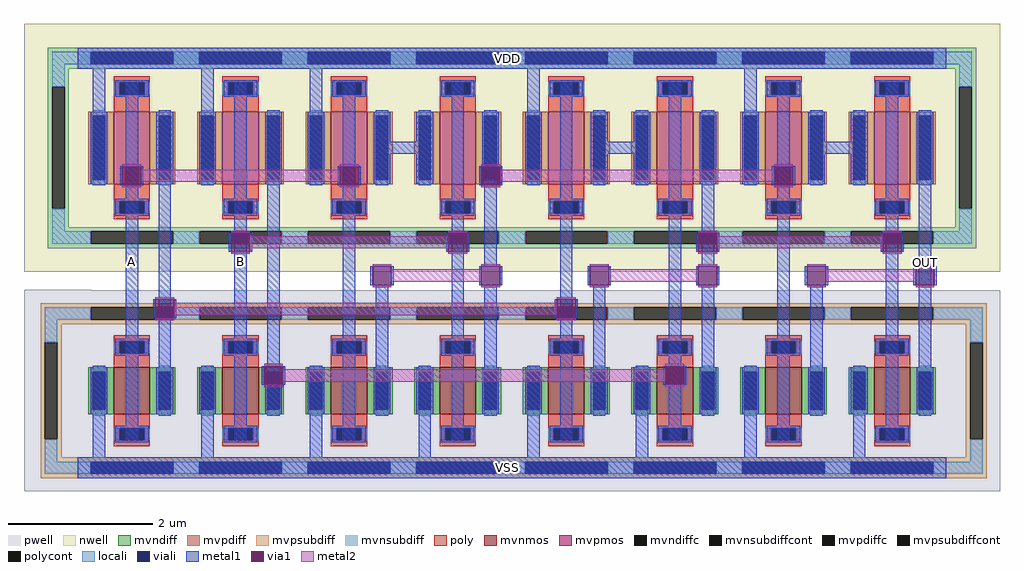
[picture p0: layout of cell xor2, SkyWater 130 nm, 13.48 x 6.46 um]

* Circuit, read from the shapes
.subckt xor2 VSS VDD A B OUT
XM1 xor2_raw_0/nor2_raw_1/A A VSS VSS sky130_fd_pr__nfet_g5v0d10v5 w=0.65 l=0.5
XM2 xor2_raw_0/nor2_raw_1/B B VSS VSS sky130_fd_pr__nfet_g5v0d10v5 w=0.65 l=0.5
XM3 xor2_raw_0/nor2_raw_2/A A VSS VSS sky130_fd_pr__nfet_g5v0d10v5 w=0.65 l=0.5
XM4 xor2_raw_0/nor2_raw_2/A B VSS VSS sky130_fd_pr__nfet_g5v0d10v5 w=0.65 l=0.5
XM5 xor2_raw_0/nor2_raw_2/B xor2_raw_0/nor2_raw_1/A VSS VSS sky130_fd_pr__nfet_g5v0d10v5 w=0.65 l=0.5
XM6 xor2_raw_0/nor2_raw_2/B xor2_raw_0/nor2_raw_1/B VSS VSS sky130_fd_pr__nfet_g5v0d10v5 w=0.65 l=0.5
XM7 OUT xor2_raw_0/nor2_raw_2/A VSS VSS sky130_fd_pr__nfet_g5v0d10v5 w=0.65 l=0.5
XM8 OUT xor2_raw_0/nor2_raw_2/B VSS VSS sky130_fd_pr__nfet_g5v0d10v5 w=0.65 l=0.5
XM9 xor2_raw_0/nor2_raw_1/A A VDD VDD sky130_fd_pr__pfet_g5v0d10v5 w=1 l=0.5
XM10 xor2_raw_0/nor2_raw_1/B B VDD VDD sky130_fd_pr__pfet_g5v0d10v5 w=1 l=0.5
XM11 n1 A VDD VDD sky130_fd_pr__pfet_g5v0d10v5 w=1 l=0.5
XM12 xor2_raw_0/nor2_raw_2/A B n1 VDD sky130_fd_pr__pfet_g5v0d10v5 w=1 l=0.5
XM13 n2 xor2_raw_0/nor2_raw_1/A VDD VDD sky130_fd_pr__pfet_g5v0d10v5 w=1 l=0.5
XM14 xor2_raw_0/nor2_raw_2/B xor2_raw_0/nor2_raw_1/B n2 VDD sky130_fd_pr__pfet_g5v0d10v5 w=1 l=0.5
XM15 n3 xor2_raw_0/nor2_raw_2/A VDD VDD sky130_fd_pr__pfet_g5v0d10v5 w=1 l=0.5
XM16 OUT xor2_raw_0/nor2_raw_2/B n3 VDD sky130_fd_pr__pfet_g5v0d10v5 w=1 l=0.5
.ends

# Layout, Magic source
magic
tech sky130A
magscale 1 2
<< metal1 >>
rect 148 1168 2524 1226
rect 281 141 315 1130
rect 581 141 615 1130
rect 2472 209 2506 1053
rect 148 36 2524 94
use transistor_pair_bus_8  transistor_pair_bus_8_0
transform 1 0 60 0 1 0
box -60 0 2636 1292
use xor2_raw  xor2_raw_0
transform 1 0 0 0 1 0
box 148 36 2524 1226
<< labels >>
flabel metal1 281 141 315 1130 0 FreeSans 256 0 0 0 A
port 2 nsew signal input
flabel metal1 581 141 615 1130 0 FreeSans 256 0 0 0 B
port 3 nsew signal input
flabel metal1 2472 209 2506 1053 0 FreeSans 128 0 0 0 OUT
port 4 nsew signal output
flabel metal1 148 36 2524 94 0 FreeSans 256 0 0 0 VSS
port 0 nsew ground bidirectional
flabel metal1 148 1168 2524 1226 0 FreeSans 256 0 0 0 VDD
port 1 nsew power bidirectional
<< end >>

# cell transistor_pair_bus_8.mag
magic
tech sky130A
magscale 1 2
<< nwell >>
rect -60 606 2636 1292
<< pwell >>
rect -60 556 126 557
rect -60 0 2636 556
<< mvnmos >>
rect 188 213 288 343
rect 488 213 588 343
rect 788 213 888 343
rect 1088 213 1188 343
rect 1388 213 1488 343
rect 1688 213 1788 343
rect 1988 213 2088 343
rect 2288 213 2388 343
<< mvpmos >>
rect 188 849 288 1049
rect 488 849 588 1049
rect 788 849 888 1049
rect 1088 849 1188 1049
rect 1388 849 1488 1049
rect 1688 849 1788 1049
rect 1988 849 2088 1049
rect 2288 849 2388 1049
<< mvndiff >>
rect 118 331 188 343
rect 118 225 130 331
rect 164 225 188 331
rect 118 213 188 225
rect 288 331 358 343
rect 288 225 312 331
rect 346 225 358 331
rect 288 213 358 225
rect 418 331 488 343
rect 418 225 430 331
rect 464 225 488 331
rect 418 213 488 225
rect 588 331 658 343
rect 588 225 612 331
rect 646 225 658 331
rect 588 213 658 225
rect 718 331 788 343
rect 718 225 730 331
rect 764 225 788 331
rect 718 213 788 225
rect 888 331 958 343
rect 888 225 912 331
rect 946 225 958 331
rect 888 213 958 225
rect 1018 331 1088 343
rect 1018 225 1030 331
rect 1064 225 1088 331
rect 1018 213 1088 225
rect 1188 331 1258 343
rect 1188 225 1212 331
rect 1246 225 1258 331
rect 1188 213 1258 225
rect 1318 331 1388 343
rect 1318 225 1330 331
rect 1364 225 1388 331
rect 1318 213 1388 225
rect 1488 331 1558 343
rect 1488 225 1512 331
rect 1546 225 1558 331
rect 1488 213 1558 225
rect 1618 331 1688 343
rect 1618 225 1630 331
rect 1664 225 1688 331
rect 1618 213 1688 225
rect 1788 331 1858 343
rect 1788 225 1812 331
rect 1846 225 1858 331
rect 1788 213 1858 225
rect 1918 331 1988 343
rect 1918 225 1930 331
rect 1964 225 1988 331
rect 1918 213 1988 225
rect 2088 331 2158 343
rect 2088 225 2112 331
rect 2146 225 2158 331
rect 2088 213 2158 225
rect 2218 331 2288 343
rect 2218 225 2230 331
rect 2264 225 2288 331
rect 2218 213 2288 225
rect 2388 331 2458 343
rect 2388 225 2412 331
rect 2446 225 2458 331
rect 2388 213 2458 225
<< mvpdiff >>
rect 118 1037 188 1049
rect 118 861 130 1037
rect 164 861 188 1037
rect 118 849 188 861
rect 288 1037 358 1049
rect 288 861 312 1037
rect 346 861 358 1037
rect 288 849 358 861
rect 418 1037 488 1049
rect 418 861 430 1037
rect 464 861 488 1037
rect 418 849 488 861
rect 588 1037 658 1049
rect 588 861 612 1037
rect 646 861 658 1037
rect 588 849 658 861
rect 718 1037 788 1049
rect 718 861 730 1037
rect 764 861 788 1037
rect 718 849 788 861
rect 888 1037 958 1049
rect 888 861 912 1037
rect 946 861 958 1037
rect 888 849 958 861
rect 1018 1037 1088 1049
rect 1018 861 1030 1037
rect 1064 861 1088 1037
rect 1018 849 1088 861
rect 1188 1037 1258 1049
rect 1188 861 1212 1037
rect 1246 861 1258 1037
rect 1188 849 1258 861
rect 1318 1037 1388 1049
rect 1318 861 1330 1037
rect 1364 861 1388 1037
rect 1318 849 1388 861
rect 1488 1037 1558 1049
rect 1488 861 1512 1037
rect 1546 861 1558 1037
rect 1488 849 1558 861
rect 1618 1037 1688 1049
rect 1618 861 1630 1037
rect 1664 861 1688 1037
rect 1618 849 1688 861
rect 1788 1037 1858 1049
rect 1788 861 1812 1037
rect 1846 861 1858 1037
rect 1788 849 1858 861
rect 1918 1037 1988 1049
rect 1918 861 1930 1037
rect 1964 861 1988 1037
rect 1918 849 1988 861
rect 2088 1037 2158 1049
rect 2088 861 2112 1037
rect 2146 861 2158 1037
rect 2088 849 2158 861
rect 2218 1037 2288 1049
rect 2218 861 2230 1037
rect 2264 861 2288 1037
rect 2218 849 2288 861
rect 2388 1037 2458 1049
rect 2388 861 2412 1037
rect 2446 861 2458 1037
rect 2388 849 2458 861
<< mvndiffc >>
rect 130 225 164 331
rect 312 225 346 331
rect 430 225 464 331
rect 612 225 646 331
rect 730 225 764 331
rect 912 225 946 331
rect 1030 225 1064 331
rect 1212 225 1246 331
rect 1330 225 1364 331
rect 1512 225 1546 331
rect 1630 225 1664 331
rect 1812 225 1846 331
rect 1930 225 1964 331
rect 2112 225 2146 331
rect 2230 225 2264 331
rect 2412 225 2446 331
<< mvpdiffc >>
rect 130 861 164 1037
rect 312 861 346 1037
rect 430 861 464 1037
rect 612 861 646 1037
rect 730 861 764 1037
rect 912 861 946 1037
rect 1030 861 1064 1037
rect 1212 861 1246 1037
rect 1330 861 1364 1037
rect 1512 861 1546 1037
rect 1630 861 1664 1037
rect 1812 861 1846 1037
rect 1930 861 1964 1037
rect 2112 861 2146 1037
rect 2230 861 2264 1037
rect 2412 861 2446 1037
<< mvpsubdiff >>
rect -14 508 2600 520
rect -14 474 124 508
rect 352 474 424 508
rect 652 474 724 508
rect 952 474 1024 508
rect 1252 474 1324 508
rect 1552 474 1624 508
rect 1852 474 1924 508
rect 2152 474 2224 508
rect 2452 474 2600 508
rect -14 462 2600 474
rect -14 412 44 462
rect -14 144 -2 412
rect 32 144 44 412
rect 2542 412 2600 462
rect -14 94 44 144
rect 2542 144 2554 412
rect 2588 144 2600 412
rect 2542 94 2600 144
rect -14 82 2600 94
rect -14 48 124 82
rect 352 48 424 82
rect 652 48 724 82
rect 952 48 1024 82
rect 1252 48 1324 82
rect 1552 48 1624 82
rect 1852 48 1924 82
rect 2152 48 2224 82
rect 2452 48 2600 82
rect -14 36 2600 48
<< mvnsubdiff >>
rect 6 1214 2570 1226
rect 6 1180 124 1214
rect 352 1180 424 1214
rect 652 1180 724 1214
rect 952 1180 1024 1214
rect 1252 1180 1324 1214
rect 1552 1180 1624 1214
rect 1852 1180 1924 1214
rect 2152 1180 2224 1214
rect 2452 1180 2570 1214
rect 6 1168 2570 1180
rect 6 1118 64 1168
rect 6 780 18 1118
rect 52 780 64 1118
rect 2512 1118 2570 1168
rect 6 730 64 780
rect 2512 780 2524 1118
rect 2558 780 2570 1118
rect 2512 730 2570 780
rect 6 718 2570 730
rect 6 684 124 718
rect 352 684 424 718
rect 652 684 724 718
rect 952 684 1024 718
rect 1252 684 1324 718
rect 1552 684 1624 718
rect 1852 684 1924 718
rect 2152 684 2224 718
rect 2452 684 2570 718
rect 6 672 2570 684
<< mvpsubdiffcont >>
rect 124 474 352 508
rect 424 474 652 508
rect 724 474 952 508
rect 1024 474 1252 508
rect 1324 474 1552 508
rect 1624 474 1852 508
rect 1924 474 2152 508
rect 2224 474 2452 508
rect -2 144 32 412
rect 2554 144 2588 412
rect 124 48 352 82
rect 424 48 652 82
rect 724 48 952 82
rect 1024 48 1252 82
rect 1324 48 1552 82
rect 1624 48 1852 82
rect 1924 48 2152 82
rect 2224 48 2452 82
<< mvnsubdiffcont >>
rect 124 1180 352 1214
rect 424 1180 652 1214
rect 724 1180 952 1214
rect 1024 1180 1252 1214
rect 1324 1180 1552 1214
rect 1624 1180 1852 1214
rect 1924 1180 2152 1214
rect 2224 1180 2452 1214
rect 18 780 52 1118
rect 2524 780 2558 1118
rect 124 684 352 718
rect 424 684 652 718
rect 724 684 952 718
rect 1024 684 1252 718
rect 1324 684 1552 718
rect 1624 684 1852 718
rect 1924 684 2152 718
rect 2224 684 2452 718
<< poly >>
rect 188 1130 288 1146
rect 188 1096 204 1130
rect 272 1096 288 1130
rect 188 1049 288 1096
rect 488 1130 588 1146
rect 488 1096 504 1130
rect 572 1096 588 1130
rect 488 1049 588 1096
rect 788 1130 888 1146
rect 788 1096 804 1130
rect 872 1096 888 1130
rect 788 1049 888 1096
rect 1088 1130 1188 1146
rect 1088 1096 1104 1130
rect 1172 1096 1188 1130
rect 1088 1049 1188 1096
rect 1388 1130 1488 1146
rect 1388 1096 1404 1130
rect 1472 1096 1488 1130
rect 1388 1049 1488 1096
rect 1688 1130 1788 1146
rect 1688 1096 1704 1130
rect 1772 1096 1788 1130
rect 1688 1049 1788 1096
rect 1988 1130 2088 1146
rect 1988 1096 2004 1130
rect 2072 1096 2088 1130
rect 1988 1049 2088 1096
rect 2288 1130 2388 1146
rect 2288 1096 2304 1130
rect 2372 1096 2388 1130
rect 2288 1049 2388 1096
rect 188 802 288 849
rect 188 768 204 802
rect 272 768 288 802
rect 188 752 288 768
rect 488 802 588 849
rect 488 768 504 802
rect 572 768 588 802
rect 488 752 588 768
rect 788 802 888 849
rect 788 768 804 802
rect 872 768 888 802
rect 788 752 888 768
rect 1088 802 1188 849
rect 1088 768 1104 802
rect 1172 768 1188 802
rect 1088 752 1188 768
rect 1388 802 1488 849
rect 1388 768 1404 802
rect 1472 768 1488 802
rect 1388 752 1488 768
rect 1688 802 1788 849
rect 1688 768 1704 802
rect 1772 768 1788 802
rect 1688 752 1788 768
rect 1988 802 2088 849
rect 1988 768 2004 802
rect 2072 768 2088 802
rect 1988 752 2088 768
rect 2288 802 2388 849
rect 2288 768 2304 802
rect 2372 768 2388 802
rect 2288 752 2388 768
rect 188 415 288 431
rect 188 381 204 415
rect 272 381 288 415
rect 188 343 288 381
rect 488 415 588 431
rect 488 381 504 415
rect 572 381 588 415
rect 488 343 588 381
rect 788 415 888 431
rect 788 381 804 415
rect 872 381 888 415
rect 788 343 888 381
rect 1088 415 1188 431
rect 1088 381 1104 415
rect 1172 381 1188 415
rect 1088 343 1188 381
rect 1388 415 1488 431
rect 1388 381 1404 415
rect 1472 381 1488 415
rect 1388 343 1488 381
rect 1688 415 1788 431
rect 1688 381 1704 415
rect 1772 381 1788 415
rect 1688 343 1788 381
rect 1988 415 2088 431
rect 1988 381 2004 415
rect 2072 381 2088 415
rect 1988 343 2088 381
rect 2288 415 2388 431
rect 2288 381 2304 415
rect 2372 381 2388 415
rect 2288 343 2388 381
rect 188 175 288 213
rect 188 141 204 175
rect 272 141 288 175
rect 188 125 288 141
rect 488 175 588 213
rect 488 141 504 175
rect 572 141 588 175
rect 488 125 588 141
rect 788 175 888 213
rect 788 141 804 175
rect 872 141 888 175
rect 788 125 888 141
rect 1088 175 1188 213
rect 1088 141 1104 175
rect 1172 141 1188 175
rect 1088 125 1188 141
rect 1388 175 1488 213
rect 1388 141 1404 175
rect 1472 141 1488 175
rect 1388 125 1488 141
rect 1688 175 1788 213
rect 1688 141 1704 175
rect 1772 141 1788 175
rect 1688 125 1788 141
rect 1988 175 2088 213
rect 1988 141 2004 175
rect 2072 141 2088 175
rect 1988 125 2088 141
rect 2288 175 2388 213
rect 2288 141 2304 175
rect 2372 141 2388 175
rect 2288 125 2388 141
<< polycont >>
rect 204 1096 272 1130
rect 504 1096 572 1130
rect 804 1096 872 1130
rect 1104 1096 1172 1130
rect 1404 1096 1472 1130
rect 1704 1096 1772 1130
rect 2004 1096 2072 1130
rect 2304 1096 2372 1130
rect 204 768 272 802
rect 504 768 572 802
rect 804 768 872 802
rect 1104 768 1172 802
rect 1404 768 1472 802
rect 1704 768 1772 802
rect 2004 768 2072 802
rect 2304 768 2372 802
rect 204 381 272 415
rect 504 381 572 415
rect 804 381 872 415
rect 1104 381 1172 415
rect 1404 381 1472 415
rect 1704 381 1772 415
rect 2004 381 2072 415
rect 2304 381 2372 415
rect 204 141 272 175
rect 504 141 572 175
rect 804 141 872 175
rect 1104 141 1172 175
rect 1404 141 1472 175
rect 1704 141 1772 175
rect 2004 141 2072 175
rect 2304 141 2372 175
<< locali >>
rect 18 1180 124 1214
rect 352 1180 424 1214
rect 652 1180 724 1214
rect 952 1180 1024 1214
rect 1252 1180 1324 1214
rect 1552 1180 1624 1214
rect 1852 1180 1924 1214
rect 2152 1180 2224 1214
rect 2452 1180 2558 1214
rect 18 1118 52 1180
rect 188 1096 204 1130
rect 272 1096 288 1130
rect 488 1096 504 1130
rect 572 1096 588 1130
rect 788 1096 804 1130
rect 872 1096 888 1130
rect 1088 1096 1104 1130
rect 1172 1096 1188 1130
rect 1388 1096 1404 1130
rect 1472 1096 1488 1130
rect 1688 1096 1704 1130
rect 1772 1096 1788 1130
rect 1988 1096 2004 1130
rect 2072 1096 2088 1130
rect 2288 1096 2304 1130
rect 2372 1096 2388 1130
rect 2524 1118 2558 1180
rect 130 1037 164 1053
rect 130 845 164 861
rect 312 1037 346 1053
rect 312 845 346 861
rect 430 1037 464 1053
rect 430 845 464 861
rect 612 1037 646 1053
rect 612 845 646 861
rect 730 1037 764 1053
rect 730 845 764 861
rect 912 1037 946 1053
rect 912 845 946 861
rect 1030 1037 1064 1053
rect 1030 845 1064 861
rect 1212 1037 1246 1053
rect 1212 845 1246 861
rect 1330 1037 1364 1053
rect 1330 845 1364 861
rect 1512 1037 1546 1053
rect 1512 845 1546 861
rect 1630 1037 1664 1053
rect 1630 845 1664 861
rect 1812 1037 1846 1053
rect 1812 845 1846 861
rect 1930 1037 1964 1053
rect 1930 845 1964 861
rect 2112 1037 2146 1053
rect 2112 845 2146 861
rect 2230 1037 2264 1053
rect 2230 845 2264 861
rect 2412 1037 2446 1053
rect 2412 845 2446 861
rect 18 718 52 780
rect 188 768 204 802
rect 272 768 288 802
rect 488 768 504 802
rect 572 768 588 802
rect 788 768 804 802
rect 872 768 888 802
rect 1088 768 1104 802
rect 1172 768 1188 802
rect 1388 768 1404 802
rect 1472 768 1488 802
rect 1688 768 1704 802
rect 1772 768 1788 802
rect 1988 768 2004 802
rect 2072 768 2088 802
rect 2288 768 2304 802
rect 2372 768 2388 802
rect 2524 718 2558 780
rect 18 684 124 718
rect 352 684 424 718
rect 652 684 724 718
rect 952 684 1024 718
rect 1252 684 1324 718
rect 1552 684 1624 718
rect 1852 684 1924 718
rect 2152 684 2224 718
rect 2452 684 2558 718
rect -2 474 124 508
rect 352 474 424 508
rect 652 474 724 508
rect 952 474 1024 508
rect 1252 474 1324 508
rect 1552 474 1624 508
rect 1852 474 1924 508
rect 2152 474 2224 508
rect 2452 474 2588 508
rect -2 412 32 474
rect 188 381 204 415
rect 272 381 288 415
rect 488 381 504 415
rect 572 381 588 415
rect 788 381 804 415
rect 872 381 888 415
rect 1088 381 1104 415
rect 1172 381 1188 415
rect 1388 381 1404 415
rect 1472 381 1488 415
rect 1688 381 1704 415
rect 1772 381 1788 415
rect 1988 381 2004 415
rect 2072 381 2088 415
rect 2288 381 2304 415
rect 2372 381 2388 415
rect 2554 412 2588 474
rect 130 331 164 347
rect 130 209 164 225
rect 312 331 346 347
rect 312 209 346 225
rect 430 331 464 347
rect 430 209 464 225
rect 612 331 646 347
rect 612 209 646 225
rect 730 331 764 347
rect 730 209 764 225
rect 912 331 946 347
rect 912 209 946 225
rect 1030 331 1064 347
rect 1030 209 1064 225
rect 1212 331 1246 347
rect 1212 209 1246 225
rect 1330 331 1364 347
rect 1330 209 1364 225
rect 1512 331 1546 347
rect 1512 209 1546 225
rect 1630 331 1664 347
rect 1630 209 1664 225
rect 1812 331 1846 347
rect 1812 209 1846 225
rect 1930 331 1964 347
rect 1930 209 1964 225
rect 2112 331 2146 347
rect 2112 209 2146 225
rect 2230 331 2264 347
rect 2230 209 2264 225
rect 2412 331 2446 347
rect 2412 209 2446 225
rect -2 82 32 144
rect 188 141 204 175
rect 272 141 288 175
rect 488 141 504 175
rect 572 141 588 175
rect 788 141 804 175
rect 872 141 888 175
rect 1088 141 1104 175
rect 1172 141 1188 175
rect 1388 141 1404 175
rect 1472 141 1488 175
rect 1688 141 1704 175
rect 1772 141 1788 175
rect 1988 141 2004 175
rect 2072 141 2088 175
rect 2288 141 2304 175
rect 2372 141 2388 175
rect 2554 82 2588 144
rect -2 48 124 82
rect 352 48 424 82
rect 652 48 724 82
rect 952 48 1024 82
rect 1252 48 1324 82
rect 1552 48 1624 82
rect 1852 48 1924 82
rect 2152 48 2224 82
rect 2452 48 2588 82
<< viali >>
rect 124 1180 352 1214
rect 424 1180 652 1214
rect 724 1180 952 1214
rect 1024 1180 1252 1214
rect 1324 1180 1552 1214
rect 1624 1180 1852 1214
rect 1924 1180 2152 1214
rect 2224 1180 2452 1214
rect 204 1096 272 1130
rect 504 1096 572 1130
rect 804 1096 872 1130
rect 1104 1096 1172 1130
rect 1404 1096 1472 1130
rect 1704 1096 1772 1130
rect 2004 1096 2072 1130
rect 2304 1096 2372 1130
rect 130 861 164 1037
rect 312 861 346 1037
rect 430 861 464 1037
rect 612 861 646 1037
rect 730 861 764 1037
rect 912 861 946 1037
rect 1030 861 1064 1037
rect 1212 861 1246 1037
rect 1330 861 1364 1037
rect 1512 861 1546 1037
rect 1630 861 1664 1037
rect 1812 861 1846 1037
rect 1930 861 1964 1037
rect 2112 861 2146 1037
rect 2230 861 2264 1037
rect 2412 861 2446 1037
rect 204 768 272 802
rect 504 768 572 802
rect 804 768 872 802
rect 1104 768 1172 802
rect 1404 768 1472 802
rect 1704 768 1772 802
rect 2004 768 2072 802
rect 2304 768 2372 802
rect 204 381 272 415
rect 504 381 572 415
rect 804 381 872 415
rect 1104 381 1172 415
rect 1404 381 1472 415
rect 1704 381 1772 415
rect 2004 381 2072 415
rect 2304 381 2372 415
rect 130 225 164 331
rect 312 225 346 331
rect 430 225 464 331
rect 612 225 646 331
rect 730 225 764 331
rect 912 225 946 331
rect 1030 225 1064 331
rect 1212 225 1246 331
rect 1330 225 1364 331
rect 1512 225 1546 331
rect 1630 225 1664 331
rect 1812 225 1846 331
rect 1930 225 1964 331
rect 2112 225 2146 331
rect 2230 225 2264 331
rect 2412 225 2446 331
rect 204 141 272 175
rect 504 141 572 175
rect 804 141 872 175
rect 1104 141 1172 175
rect 1404 141 1472 175
rect 1704 141 1772 175
rect 2004 141 2072 175
rect 2304 141 2372 175
rect 124 48 352 82
rect 424 48 652 82
rect 724 48 952 82
rect 1024 48 1252 82
rect 1324 48 1552 82
rect 1624 48 1852 82
rect 1924 48 2152 82
rect 2224 48 2452 82
<< metal1 >>
rect 88 1214 2488 1226
rect 88 1180 124 1214
rect 352 1180 424 1214
rect 652 1180 724 1214
rect 952 1180 1024 1214
rect 1252 1180 1324 1214
rect 1552 1180 1624 1214
rect 1852 1180 1924 1214
rect 2152 1180 2224 1214
rect 2452 1180 2488 1214
rect 88 1168 2488 1180
rect 192 1130 284 1136
rect 192 1096 204 1130
rect 272 1096 284 1130
rect 192 1090 284 1096
rect 492 1130 584 1136
rect 492 1096 504 1130
rect 572 1096 584 1130
rect 492 1090 584 1096
rect 792 1130 884 1136
rect 792 1096 804 1130
rect 872 1096 884 1130
rect 792 1090 884 1096
rect 1092 1130 1184 1136
rect 1092 1096 1104 1130
rect 1172 1096 1184 1130
rect 1092 1090 1184 1096
rect 1392 1130 1484 1136
rect 1392 1096 1404 1130
rect 1472 1096 1484 1130
rect 1392 1090 1484 1096
rect 1692 1130 1784 1136
rect 1692 1096 1704 1130
rect 1772 1096 1784 1130
rect 1692 1090 1784 1096
rect 1992 1130 2084 1136
rect 1992 1096 2004 1130
rect 2072 1096 2084 1130
rect 1992 1090 2084 1096
rect 2292 1130 2384 1136
rect 2292 1096 2304 1130
rect 2372 1096 2384 1130
rect 2292 1090 2384 1096
rect 130 1049 164 1053
rect 124 1037 170 1049
rect 124 861 130 1037
rect 164 861 170 1037
rect 124 849 170 861
rect 130 845 164 849
rect 221 808 255 1090
rect 312 1049 346 1053
rect 430 1049 464 1053
rect 306 1037 352 1049
rect 306 861 312 1037
rect 346 861 352 1037
rect 306 849 352 861
rect 424 1037 470 1049
rect 424 861 430 1037
rect 464 861 470 1037
rect 424 849 470 861
rect 312 845 346 849
rect 430 845 464 849
rect 521 808 555 1090
rect 612 1049 646 1053
rect 730 1049 764 1053
rect 606 1037 652 1049
rect 606 861 612 1037
rect 646 861 652 1037
rect 606 849 652 861
rect 724 1037 770 1049
rect 724 861 730 1037
rect 764 861 770 1037
rect 724 849 770 861
rect 612 845 646 849
rect 730 845 764 849
rect 821 808 855 1090
rect 912 1049 946 1053
rect 1030 1049 1064 1053
rect 906 1037 952 1049
rect 906 861 912 1037
rect 946 861 952 1037
rect 906 849 952 861
rect 1024 1037 1070 1049
rect 1024 861 1030 1037
rect 1064 861 1070 1037
rect 1024 849 1070 861
rect 912 845 946 849
rect 1030 845 1064 849
rect 1121 808 1155 1090
rect 1212 1049 1246 1053
rect 1330 1049 1364 1053
rect 1206 1037 1252 1049
rect 1206 861 1212 1037
rect 1246 861 1252 1037
rect 1206 849 1252 861
rect 1324 1037 1370 1049
rect 1324 861 1330 1037
rect 1364 861 1370 1037
rect 1324 849 1370 861
rect 1212 845 1246 849
rect 1330 845 1364 849
rect 1421 808 1455 1090
rect 1512 1049 1546 1053
rect 1630 1049 1664 1053
rect 1506 1037 1552 1049
rect 1506 861 1512 1037
rect 1546 861 1552 1037
rect 1506 849 1552 861
rect 1624 1037 1670 1049
rect 1624 861 1630 1037
rect 1664 861 1670 1037
rect 1624 849 1670 861
rect 1512 845 1546 849
rect 1630 845 1664 849
rect 1721 808 1755 1090
rect 1812 1049 1846 1053
rect 1930 1049 1964 1053
rect 1806 1037 1852 1049
rect 1806 861 1812 1037
rect 1846 861 1852 1037
rect 1806 849 1852 861
rect 1924 1037 1970 1049
rect 1924 861 1930 1037
rect 1964 861 1970 1037
rect 1924 849 1970 861
rect 1812 845 1846 849
rect 1930 845 1964 849
rect 2021 808 2055 1090
rect 2112 1049 2146 1053
rect 2230 1049 2264 1053
rect 2106 1037 2152 1049
rect 2106 861 2112 1037
rect 2146 861 2152 1037
rect 2106 849 2152 861
rect 2224 1037 2270 1049
rect 2224 861 2230 1037
rect 2264 861 2270 1037
rect 2224 849 2270 861
rect 2112 845 2146 849
rect 2230 845 2264 849
rect 2321 808 2355 1090
rect 2412 1049 2446 1053
rect 2406 1037 2452 1049
rect 2406 861 2412 1037
rect 2446 861 2452 1037
rect 2406 849 2452 861
rect 2412 845 2446 849
rect 192 802 284 808
rect 192 768 204 802
rect 272 768 284 802
rect 192 762 284 768
rect 492 802 584 808
rect 492 768 504 802
rect 572 768 584 802
rect 492 762 584 768
rect 792 802 884 808
rect 792 768 804 802
rect 872 768 884 802
rect 792 762 884 768
rect 1092 802 1184 808
rect 1092 768 1104 802
rect 1172 768 1184 802
rect 1092 762 1184 768
rect 1392 802 1484 808
rect 1392 768 1404 802
rect 1472 768 1484 802
rect 1392 762 1484 768
rect 1692 802 1784 808
rect 1692 768 1704 802
rect 1772 768 1784 802
rect 1692 762 1784 768
rect 1992 802 2084 808
rect 1992 768 2004 802
rect 2072 768 2084 802
rect 1992 762 2084 768
rect 2292 802 2384 808
rect 2292 768 2304 802
rect 2372 768 2384 802
rect 2292 762 2384 768
rect 192 415 284 421
rect 192 381 204 415
rect 272 381 284 415
rect 192 375 284 381
rect 492 415 584 421
rect 492 381 504 415
rect 572 381 584 415
rect 492 375 584 381
rect 792 415 884 421
rect 792 381 804 415
rect 872 381 884 415
rect 792 375 884 381
rect 1092 415 1184 421
rect 1092 381 1104 415
rect 1172 381 1184 415
rect 1092 375 1184 381
rect 1392 415 1484 421
rect 1392 381 1404 415
rect 1472 381 1484 415
rect 1392 375 1484 381
rect 1692 415 1784 421
rect 1692 381 1704 415
rect 1772 381 1784 415
rect 1692 375 1784 381
rect 1992 415 2084 421
rect 1992 381 2004 415
rect 2072 381 2084 415
rect 1992 375 2084 381
rect 2292 415 2384 421
rect 2292 381 2304 415
rect 2372 381 2384 415
rect 2292 375 2384 381
rect 130 343 164 347
rect 124 331 170 343
rect 124 225 130 331
rect 164 225 170 331
rect 124 213 170 225
rect 130 209 164 213
rect 221 181 255 375
rect 312 343 346 347
rect 430 343 464 347
rect 306 331 352 343
rect 306 225 312 331
rect 346 225 352 331
rect 306 213 352 225
rect 424 331 470 343
rect 424 225 430 331
rect 464 225 470 331
rect 424 213 470 225
rect 312 209 346 213
rect 430 209 464 213
rect 521 181 555 375
rect 612 343 646 347
rect 730 343 764 347
rect 606 331 652 343
rect 606 225 612 331
rect 646 225 652 331
rect 606 213 652 225
rect 724 331 770 343
rect 724 225 730 331
rect 764 225 770 331
rect 724 213 770 225
rect 612 209 646 213
rect 730 209 764 213
rect 821 181 855 375
rect 912 343 946 347
rect 1030 343 1064 347
rect 906 331 952 343
rect 906 225 912 331
rect 946 225 952 331
rect 906 213 952 225
rect 1024 331 1070 343
rect 1024 225 1030 331
rect 1064 225 1070 331
rect 1024 213 1070 225
rect 912 209 946 213
rect 1030 209 1064 213
rect 1121 181 1155 375
rect 1212 343 1246 347
rect 1330 343 1364 347
rect 1206 331 1252 343
rect 1206 225 1212 331
rect 1246 225 1252 331
rect 1206 213 1252 225
rect 1324 331 1370 343
rect 1324 225 1330 331
rect 1364 225 1370 331
rect 1324 213 1370 225
rect 1212 209 1246 213
rect 1330 209 1364 213
rect 1421 181 1455 375
rect 1512 343 1546 347
rect 1630 343 1664 347
rect 1506 331 1552 343
rect 1506 225 1512 331
rect 1546 225 1552 331
rect 1506 213 1552 225
rect 1624 331 1670 343
rect 1624 225 1630 331
rect 1664 225 1670 331
rect 1624 213 1670 225
rect 1512 209 1546 213
rect 1630 209 1664 213
rect 1721 181 1755 375
rect 1812 343 1846 347
rect 1930 343 1964 347
rect 1806 331 1852 343
rect 1806 225 1812 331
rect 1846 225 1852 331
rect 1806 213 1852 225
rect 1924 331 1970 343
rect 1924 225 1930 331
rect 1964 225 1970 331
rect 1924 213 1970 225
rect 1812 209 1846 213
rect 1930 209 1964 213
rect 2021 181 2055 375
rect 2112 343 2146 347
rect 2230 343 2264 347
rect 2106 331 2152 343
rect 2106 225 2112 331
rect 2146 225 2152 331
rect 2106 213 2152 225
rect 2224 331 2270 343
rect 2224 225 2230 331
rect 2264 225 2270 331
rect 2224 213 2270 225
rect 2112 209 2146 213
rect 2230 209 2264 213
rect 2321 181 2355 375
rect 2412 343 2446 347
rect 2406 331 2452 343
rect 2406 225 2412 331
rect 2446 225 2452 331
rect 2406 213 2452 225
rect 2412 209 2446 213
rect 192 175 284 181
rect 192 141 204 175
rect 272 141 284 175
rect 192 135 284 141
rect 492 175 584 181
rect 492 141 504 175
rect 572 141 584 175
rect 492 135 584 141
rect 792 175 884 181
rect 792 141 804 175
rect 872 141 884 175
rect 792 135 884 141
rect 1092 175 1184 181
rect 1092 141 1104 175
rect 1172 141 1184 175
rect 1092 135 1184 141
rect 1392 175 1484 181
rect 1392 141 1404 175
rect 1472 141 1484 175
rect 1392 135 1484 141
rect 1692 175 1784 181
rect 1692 141 1704 175
rect 1772 141 1784 175
rect 1692 135 1784 141
rect 1992 175 2084 181
rect 1992 141 2004 175
rect 2072 141 2084 175
rect 1992 135 2084 141
rect 2292 175 2384 181
rect 2292 141 2304 175
rect 2372 141 2384 175
rect 2292 135 2384 141
rect 88 82 2488 94
rect 88 48 124 82
rect 352 48 424 82
rect 652 48 724 82
rect 952 48 1024 82
rect 1252 48 1324 82
rect 1552 48 1624 82
rect 1852 48 1924 82
rect 2152 48 2224 82
rect 2452 48 2488 82
rect 88 36 2488 48
<< labels >>
flabel metal1 88 1168 2488 1226 0 FreeSans 256 0 0 0 VDD
port 0 nsew power bidirectional
flabel metal1 88 36 2488 94 0 FreeSans 256 0 0 0 VSS
port 1 nsew ground bidirectional
<< end >>

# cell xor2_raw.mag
magic
tech sky130A
magscale 1 2
<< metal1 >>
rect 148 1168 2524 1226
rect 281 898 315 1130
rect 266 846 272 898
rect 324 846 330 898
rect 281 141 315 846
rect 581 714 615 1130
rect 866 846 872 898
rect 924 846 930 898
rect 1257 846 1263 898
rect 1315 846 1321 898
rect 2066 846 2072 898
rect 2124 846 2130 898
rect 566 662 572 714
rect 624 662 630 714
rect 1166 662 1172 714
rect 1224 662 1230 714
rect 1857 662 1863 714
rect 1915 662 1921 714
rect 2366 662 2372 714
rect 2424 662 2430 714
rect 357 478 363 530
rect 415 478 421 530
rect 581 141 615 662
rect 1466 478 1472 530
rect 1524 478 1530 530
rect 657 294 663 346
rect 715 294 721 346
rect 1766 294 1772 346
rect 1824 294 1830 346
rect 2472 209 2506 1053
rect 148 36 2524 94
<< via1 >>
rect 272 846 324 898
rect 872 846 924 898
rect 1263 846 1315 898
rect 2072 846 2124 898
rect 572 662 624 714
rect 1172 662 1224 714
rect 1863 662 1915 714
rect 2372 662 2424 714
rect 363 478 415 530
rect 1472 478 1524 530
rect 663 294 715 346
rect 1772 294 1824 346
<< metal2 >>
rect 272 898 324 904
rect 872 898 924 904
rect 324 855 872 889
rect 272 840 324 846
rect 872 840 924 846
rect 1263 898 1315 904
rect 2072 898 2124 904
rect 1315 855 2072 889
rect 1263 840 1315 846
rect 2072 840 2124 846
rect 572 714 624 720
rect 1172 714 1224 720
rect 624 671 1172 705
rect 572 656 624 662
rect 1172 656 1224 662
rect 1863 714 1915 720
rect 2372 714 2424 720
rect 1915 671 2372 705
rect 1863 656 1915 662
rect 2372 656 2424 662
rect 363 530 415 536
rect 1472 530 1524 536
rect 415 487 1472 521
rect 363 472 415 478
rect 1472 472 1524 478
rect 663 346 715 352
rect 1772 346 1824 352
rect 715 303 1772 337
rect 663 288 715 294
rect 1772 288 1824 294
use inverter_raw  inverter_raw_0
transform 1 0 60 0 1 0
box 88 36 388 1226
use inverter_raw  inverter_raw_1
transform 1 0 360 0 1 0
box 88 36 388 1226
use nor2_raw  nor2_raw_0
transform 1 0 660 0 1 0
box 88 36 664 1226
use nor2_raw  nor2_raw_1
transform 1 0 1260 0 1 0
box 88 36 664 1226
use nor2_raw  nor2_raw_2
transform 1 0 1860 0 1 0
box 88 36 664 1226
<< labels >>
flabel metal1 281 141 315 1130 0 FreeSans 256 0 0 0 A
port 2 nsew signal input
flabel metal1 581 141 615 1130 0 FreeSans 256 0 0 0 B
port 3 nsew signal input
flabel metal1 2472 209 2506 1053 0 FreeSans 128 0 0 0 OUT
port 4 nsew signal output
flabel metal1 148 36 2524 94 0 FreeSans 256 0 0 0 VSS
port 0 nsew ground bidirectional
flabel metal1 148 1168 2524 1226 0 FreeSans 256 0 0 0 VDD
port 1 nsew power bidirectional
<< end >>

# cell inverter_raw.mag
magic
tech sky130A
magscale 1 2
<< metal1 >>
rect 88 1168 388 1226
rect 130 845 164 1168
rect 130 94 164 347
rect 221 141 255 1130
rect 312 209 346 1053
rect 88 36 388 94
<< labels >>
flabel metal1 221 141 255 1130 0 FreeSans 256 0 0 0 IN
port 0 nsew
flabel metal1 312 209 346 1053 0 FreeSans 256 0 0 0 OUT
port 1 nsew
flabel metal1 88 1168 388 1226 0 FreeSans 256 0 0 0 VDD
port 2 nsew
flabel metal1 88 36 388 94 0 FreeSans 256 0 0 0 VSS
port 3 nsew
<< end >>

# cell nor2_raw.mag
magic
tech sky130A
magscale 1 2
<< metal1 >>
rect 88 1168 664 1226
rect 130 845 164 1168
rect 130 94 164 347
rect 221 135 255 1136
rect 312 966 346 1053
rect 430 966 464 1053
rect 312 932 464 966
rect 312 845 346 932
rect 430 845 464 932
rect 297 570 303 622
rect 355 570 361 622
rect 312 209 346 570
rect 430 94 464 347
rect 521 135 555 1136
rect 612 622 646 1053
rect 597 570 603 622
rect 655 570 661 622
rect 612 209 646 570
rect 88 36 664 94
<< via1 >>
rect 303 570 355 622
rect 603 570 655 622
<< metal2 >>
rect 303 622 355 628
rect 603 622 655 628
rect 355 579 603 613
rect 303 564 355 570
rect 603 564 655 570
<< labels >>
flabel metal1 221 135 255 1136 0 FreeSans 128 0 0 0 A
port 0 nsew
flabel metal1 521 135 555 1136 0 FreeSans 128 0 0 0 B
port 1 nsew
flabel metal1 88 36 664 94 0 FreeSans 128 0 0 0 VSS
port 5 nsew
flabel metal1 88 1168 664 1226 0 FreeSans 128 0 0 0 VDD
port 4 nsew
flabel metal1 612 209 646 1053 0 FreeSans 128 0 0 0 OUT
port 3 nsew
<< end >>
